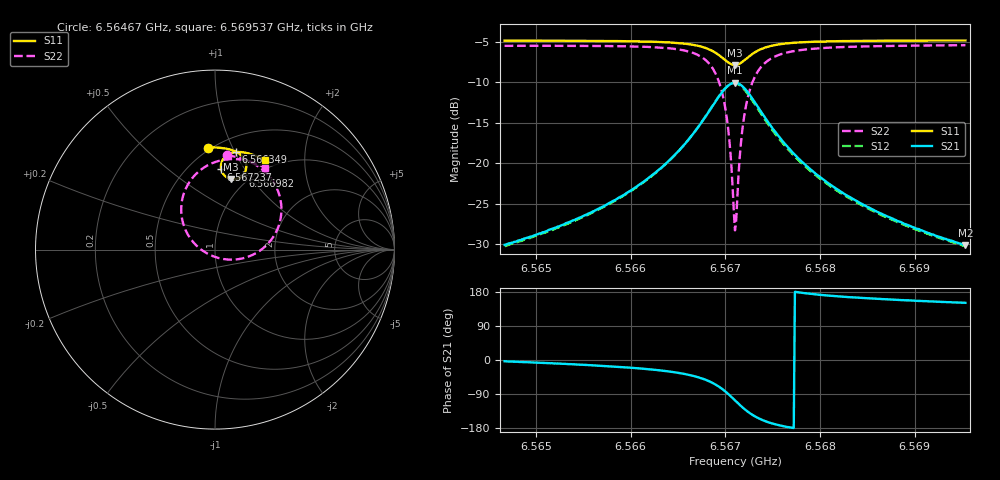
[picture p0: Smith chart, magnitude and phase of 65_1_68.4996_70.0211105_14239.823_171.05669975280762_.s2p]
#  HZ  S  RI  R  50.00
! Rohde & Schwarz Vector Network Analyzer
! Rohde-Schwarz,ZNB20-2Port,1311601062101988,3.16
! Created: UTC 3/20/2024, 4:51:24 PM
! freq[Hz]  re:S11  im:S11  re:S21  im:S21  re:S12  im:S12  re:S22  im:S22
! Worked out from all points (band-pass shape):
!   401 points, 6.56467 GHz to 6.569537 GHz, reference 50 ohm
!   highest |S21| = -10.07 dB at 6.567103 GHz (marker M1); lowest = -30.1 dB at 6.569537 GHz (marker M2)
!   |S21| within 3 dB of the highest: 6.566859 GHz to 6.567347 GHz (487.8 kHz wide, 0.00743 % of centre)
!   lowest |S11| = -7.9 dB at 6.567103 GHz (marker M3), VSWR 2.35, Z = 42.4 + j39.8 ohm
!   |S11| at or under -10 dB: nowhere
!   |S22| runs from -28.3 to -5.4 dB; largest |S21 - S12| = 0.016
!   S11 on the Smith chart (normalised r, x): 6.56467 GHz: 0.48, +0.81; 6.566349 GHz: 0.64, +1.01; 6.566982 GHz: 0.91, +0.93; 6.567237 GHz: 0.71, +0.79; 6.569537 GHz: 0.87, +1.29
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6.5646701e9  -0.0374 0.5683  0.0314 -0.00178  0.0307 -0.00236  0.066 0.5252
6.5654852e9  0.031 0.5671  0.0456 -0.0102  0.045 -0.0108  0.1485 0.5078
6.5663004e9  0.1116 0.5479  0.0813 -0.0416  0.0801 -0.0426  0.2693 0.4415
6.5663491e9  0.1172 0.5452  0.0849 -0.0461  0.0837 -0.0471  0.2794 0.4325
6.5666046e9  0.1496 0.5218  0.1078 -0.0861  0.1062 -0.088  0.3387 0.3537
6.5667871e9  0.1712 0.4854  0.1191 -0.1505  0.116 -0.1538  0.3701 0.2296
6.5668966e9  0.1727 0.4479  0.1028 -0.2163  0.0967 -0.2209  0.3431 0.1037
6.5669818e9  0.1542 0.4131  0.0534 -0.2758  0.0424 -0.2791  0.2502 -0.00614
6.5670305e9  0.1319 0.3975  0.00378 -0.3005  -0.00976 -0.3007  0.1574 -0.048
6.5670548e9  0.1178 0.3929  -0.0259 -0.3065  -0.0403 -0.3046  0.1027 -0.0558
6.5670913e9  0.095 0.3919  -0.0734 -0.3043  -0.0878 -0.2985  0.0179 -0.0464
6.5671035e9  0.0872 0.3932  -0.0888 -0.3007  -0.1031 -0.2934  -0.00955 -0.0374
6.5671156e9  0.0798 0.3954  -0.1041 -0.2952  -0.1178 -0.2868  -0.0358 -0.0257
6.5671278e9  0.0727 0.3984  -0.1185 -0.2884  -0.1316 -0.2788  -0.0605 -0.0115
6.5671521e9  0.0598 0.4067  -0.1447 -0.2711  -0.1558 -0.2595  -0.1043 0.0232
6.5671765e9  0.0492 0.4169  -0.1665 -0.2497  -0.1752 -0.2369  -0.1385 0.0638
6.5672373e9  0.0345 0.4468  -0.1982 -0.1902  -0.2015 -0.1766  -0.1838 0.1732
6.5673346e9  0.0379 0.4892  -0.1999 -0.1081  -0.198 -0.0978  -0.1725 0.316
6.5674806e9  0.0648 0.5242  -0.1653 -0.0402  -0.1618 -0.0345  -0.0968 0.4298
6.5679186e9  0.1352 0.5437  -0.0895 0.00918  -0.0872 0.0107  0.0677 0.5027
6.5687338e9  0.2159 0.5266  -0.0436 0.016  -0.0425 0.0165  0.2007 0.4887
6.5695369e9  0.2777 0.4992  -0.0274 0.0153  -0.0267 0.0155  0.2773 0.4564
